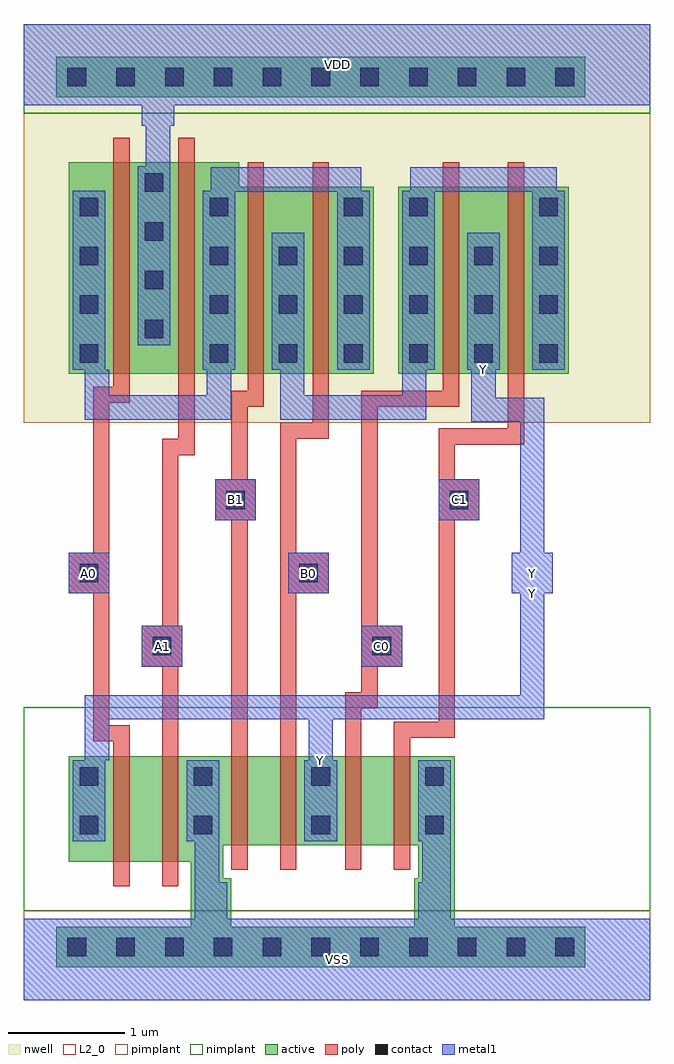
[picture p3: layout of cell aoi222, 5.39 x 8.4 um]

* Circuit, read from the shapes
.subckt aoi222 A0 A1 B0 B1 C0 C1 VDD VSS Y
M1 n1 A0 Y VSS nfet w=0.91u l=0.14u
M2 VSS A1 n1 VSS nfet w=0.91u l=0.14u
M3 n2 B1 VSS VSS nfet w=0.77u l=0.14u
M4 Y B0 n2 VSS nfet w=0.77u l=0.14u
M5 n3 C0 Y VSS nfet w=0.77u l=0.14u
M6 VSS C1 n3 VSS nfet w=0.77u l=0.14u
M7 VDD A0 n4 VDD pfet w=1.82u l=0.14u
M8 n4 A1 VDD VDD pfet w=1.82u l=0.14u
M9 n5 B1 n4 VDD pfet w=1.61u l=0.14u
M10 n4 B0 n5 VDD pfet w=1.61u l=0.14u
M11 Y C0 n5 VDD pfet w=1.61u l=0.14u
M12 n5 C1 Y VDD pfet w=1.61u l=0.14u
.ends

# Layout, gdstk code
import gdstk
lib = gdstk.Library(unit=1e-6, precision=1e-09)
def R(c, l, rs):  # rectangles x0, y0, x1, y1
    for r in rs: c.add(gdstk.rectangle(r[:2], r[2:], *l))
def A(c, l, x, y, w, h, nx, ny, dx, dy):  # array of equal rectangles
    R(c, l, [(x+i*dx, y+j*dy, x+i*dx+w, y+j*dy+h) for i in range(nx) for j in range(ny)])
def P(c, l, *ps):  # polygons
    for p in ps: c.add(gdstk.Polygon(p, *l))
L2_0 = (2, 0)
nwell = (3, 0)
active = (6, 0)
poly = (17, 0)
pimplant = (25, 0)
nimplant = (26, 0)
contact = (30, 0)
metal1 = (31, 0)

adk_poly_m1 = lib.new_cell('ADK_poly_m1')
R(adk_poly_m1, poly, [(-0.175,-0.175,0.175,0.175)])
R(adk_poly_m1, contact, [(-0.08,-0.08,0.08,0.08)])
R(adk_poly_m1, metal1, [(-0.175,-0.175,0.175,0.175)])

aoi222 = lib.new_cell('aoi222')
R(aoi222, L2_0, [(0,0,5.39,2.52)])
R(aoi222, nwell, [(0,4.97,5.39,8.4), (2.8,4.97,5.11,7.42)])
P(aoi222, nwell, [(0,4.97),(3.43,4.97),(3.43,7.42),(2.275,7.42),(2.275,7.63),(0,7.63)])
R(aoi222, active, [(0.28,0.28,4.83,0.63), (1.435,0.63,1.785,1.05), (3.36,0.63,3.71,1.05), (1.435,1.05,1.715,1.19), (3.395,1.05,3.71,1.33), (0.385,1.19,0.77,2.1), (1.645,1.19,1.715,1.33), (3.325,1.33,3.71,2.1), (0.385,5.39,0.77,7.21), (2.625,5.39,3.01,7), (3.22,5.39,3.605,7), (3.22,5.39,4.69,7), (4.305,5.39,4.69,7), (0.28,7.77,4.83,8.12)])
P(aoi222, active, [(3.01,5.39),(3.01,7),(1.855,7),(1.855,7.21),(0.385,7.21),(0.385,5.39)],
  [(1.715,1.19),(1.715,1.33),(3.71,1.33),(3.71,2.1),(0.385,2.1),(0.385,1.19)])
R(aoi222, poly, [(0.77,0.98,0.91,1.19), (1.19,0.98,1.33,1.19), (1.785,1.12,1.925,1.33), (2.205,1.12,2.345,1.33), (2.765,1.12,2.905,1.33), (3.185,1.12,3.325,1.33), (0.77,1.19,0.91,2.1), (1.19,1.19,1.33,2.1), (1.785,1.33,1.925,2.1), (2.205,1.33,2.345,2.1), (2.765,1.33,2.905,2.1), (3.185,1.33,3.325,2.1), (0.77,2.1,0.91,2.31), (1.19,2.1,1.33,2.31), (1.785,2.1,1.925,2.31), (2.205,2.1,2.345,2.31), (2.765,2.1,2.905,2.31), (3.185,2.1,3.325,2.31), (0.77,5.18,0.91,5.39), (1.33,5.18,1.47,5.39), (1.925,5.18,2.065,5.39), (2.485,5.18,2.625,5.39), (3.605,5.18,3.745,5.39), (4.165,5.18,4.305,5.39), (0.77,5.39,0.91,7.21), (1.33,5.39,1.47,7.21), (1.925,5.39,2.065,7), (2.485,5.39,2.625,7), (3.605,5.39,3.745,7), (4.165,5.39,4.305,7), (1.925,7,2.065,7.21), (2.485,7,2.625,7.21), (3.605,7,3.745,7.21), (4.165,7,4.305,7.21), (0.77,7.21,0.91,7.42), (1.33,7.21,1.47,7.42)])
P(aoi222, poly, [(3.185,2.17),(3.325,2.17),(3.325,2.255),(3.71,2.255),(3.71,4.78),(4.305,4.78),(4.305,5.32),(4.165,5.32),(4.165,4.92),(3.57,4.92),(3.57,2.395),(3.185,2.395)],
  [(2.765,2.17),(2.905,2.17),(2.905,2.51),(3.045,2.51),(3.045,5.105),(3.745,5.105),(3.745,5.32),(3.605,5.32),(3.605,5.245),(2.905,5.245),(2.905,2.65),(2.765,2.65)])
R(aoi222, pimplant, [(0,0,5.39,0.77), (0,4.97,5.39,7.63)])
R(aoi222, nimplant, [(0,0.77,5.39,2.52), (1.785,1.05,1.925,1.19), (0,7.63,5.39,8.4)])
A(aoi222, contact, 0.375, 0.375, 0.16, 0.16, 11, 2, 0.42, 7.49)
A(aoi222, contact, 0.48, 5.485, 0.16, 0.16, 1, 4, 0, 0.42)
A(aoi222, contact, 1.6, 5.485, 0.16, 0.16, 1, 4, 0, 0.42)
A(aoi222, contact, 2.195, 5.485, 0.16, 0.16, 5, 3, 0.56, 0.42)
A(aoi222, contact, 1.04, 5.695, 0.16, 0.16, 1, 4, 0, 0.42)
R(aoi222, contact, [(0.48,1.425,0.64,1.585), (1.46,1.425,1.62,1.585), (2.475,1.425,2.635,1.585), (3.455,1.425,3.615,1.585), (0.48,1.845,0.64,2.005), (1.46,1.845,1.62,2.005), (2.475,1.845,2.635,2.005), (3.455,1.845,3.615,2.005), (2.755,6.745,2.915,6.905), (3.315,6.745,3.475,6.905), (4.435,6.745,4.595,6.905)])
R(aoi222, metal1, [(0,0,5.39,0.7), (0,0,5.39,0.7), (1.47,0.7,1.75,1.015), (3.395,0.7,3.675,1.015), (1.47,1.015,1.68,1.365), (3.43,1.015,3.675,1.365), (0.42,1.365,0.7,2.065), (1.4,1.365,1.68,2.065), (2.415,1.365,2.695,2.065), (3.395,1.365,3.675,2.065), (1.015,2.87,1.365,3.22), (2.905,2.87,3.255,3.22), (0.385,3.5,0.735,3.85), (2.275,3.5,2.625,3.85), (4.2,3.5,4.55,3.85), (4.2,3.5,4.55,3.85), (1.645,4.13,1.995,4.48), (3.57,4.13,3.92,4.48), (0.42,5.425,0.7,6.965), (1.54,5.425,1.82,6.965), (2.135,5.425,2.415,6.605), (2.695,5.425,2.975,6.965), (3.255,5.425,3.535,6.965), (3.815,5.425,4.095,6.605), (4.375,5.425,4.655,6.965), (0.98,5.635,1.26,7.175), (1.05,7.175,1.26,7.525), (1.015,7.525,1.295,7.7), (0,7.7,5.39,8.4), (0,7.7,5.39,8.4)])
aoi222.add(gdstk.FlexPath([(4.375,3.5),(4.375,2.52),(2.66,2.52)], 0.21, ends="flush", simple_path=True, layer=31, datatype=0))  # metal1
aoi222.add(gdstk.FlexPath([(1.68,5.425),(1.68,5.1),(0.63,5.1),(0.63,5.425)], 0.21, ends="flush", simple_path=True, layer=31, datatype=0))  # metal1
aoi222.add(gdstk.FlexPath([(4.48,6.965),(4.48,7.06),(3.43,7.06),(3.43,6.965)], 0.21, ends="flush", simple_path=True, layer=31, datatype=0))  # metal1
aoi222.add(gdstk.FlexPath([(3.955,5.425),(3.955,5.08),(4.375,5.08),(4.375,3.85)], 0.21, ends="flush", simple_path=True, layer=31, datatype=0))  # metal1
aoi222.add(gdstk.FlexPath([(2.8,6.965),(2.8,7.06),(1.715,7.06),(1.715,6.9)], 0.21, ends="flush", simple_path=True, layer=31, datatype=0))  # metal1
aoi222.add(gdstk.FlexPath([(3.36,5.425),(3.36,5.1),(2.31,5.1),(2.31,5.425)], 0.21, ends="flush", simple_path=True, layer=31, datatype=0))  # metal1
aoi222.add(gdstk.FlexPath([(2.555,2.065),(2.555,2.52),(0.63,2.52),(0.63,2.065)], 0.21, ends="flush", simple_path=True, layer=31, datatype=0))  # metal1
aoi222.add(gdstk.FlexPath([(0.84,5.215),(0.84,5.21),(0.665,5.21),(0.665,3.85)], 0.14, ends="flush", simple_path=True, layer=17, datatype=0))  # poly
aoi222.add(gdstk.FlexPath([(0.84,2.275),(0.84,2.295),(0.665,2.295),(0.665,3.5)], 0.14, ends="flush", simple_path=True, layer=17, datatype=0))  # poly
aoi222.add(gdstk.FlexPath([(2.555,5.215),(2.555,4.9),(2.275,4.9),(2.275,2.275)], 0.14, ends="flush", simple_path=True, layer=17, datatype=0))  # poly
aoi222.add(gdstk.FlexPath([(1.995,5.215),(1.995,5.175),(1.855,5.175),(1.855,2.275)], 0.14, ends="flush", simple_path=True, layer=17, datatype=0))  # poly
aoi222.add(gdstk.FlexPath([(1.26,2.275),(1.26,4.76),(1.4,4.76),(1.4,5.215)], 0.14, ends="flush", simple_path=True, layer=17, datatype=0))  # poly
aoi222.add(gdstk.Reference(adk_poly_m1, (0.56,3.675)))
aoi222.add(gdstk.Reference(adk_poly_m1, (1.82,4.305)))
aoi222.add(gdstk.Reference(adk_poly_m1, (2.45,3.675)))
aoi222.add(gdstk.Reference(adk_poly_m1, (1.19,3.045)))
aoi222.add(gdstk.Reference(adk_poly_m1, (3.08,3.045)))
aoi222.add(gdstk.Reference(adk_poly_m1, (3.745,4.305)))
aoi222.add(gdstk.Label('VDD', (2.695,8.05), layer=131, texttype=0))
aoi222.add(gdstk.Label('C0', (3.08,3.045), layer=131, texttype=0))
aoi222.add(gdstk.Label('B0', (2.45,3.675), layer=131, texttype=0))
aoi222.add(gdstk.Label('B1', (1.82,4.305), layer=131, texttype=0))
aoi222.add(gdstk.Label('A1', (1.19,3.045), layer=131, texttype=0))
aoi222.add(gdstk.Label('A0', (0.56,3.675), layer=131, texttype=0))
aoi222.add(gdstk.Label('C1', (3.745,4.305), layer=131, texttype=0))
aoi222.add(gdstk.Label('Y', (4.375,3.675), layer=131, texttype=0))
aoi222.add(gdstk.Label('VDD', (2.695,8.05), layer=31, texttype=0))
aoi222.add(gdstk.Label('C0', (3.08,3.045), layer=31, texttype=0))
aoi222.add(gdstk.Label('B0', (2.45,3.675), layer=31, texttype=0))
aoi222.add(gdstk.Label('B1', (1.82,4.305), layer=31, texttype=0))
aoi222.add(gdstk.Label('A1', (1.19,3.045), layer=31, texttype=0))
aoi222.add(gdstk.Label('A0', (0.56,3.675), layer=31, texttype=0))
aoi222.add(gdstk.Label('C1', (3.745,4.305), layer=31, texttype=0))
aoi222.add(gdstk.Label('Y', (4.375,3.675), layer=31, texttype=0))
aoi222.add(gdstk.Label('Y', (3.955,5.425), layer=31, texttype=0))
aoi222.add(gdstk.Label('Y', (4.375,3.5), layer=31, texttype=0))
aoi222.add(gdstk.Label('Y', (2.555,2.065), layer=31, texttype=0))
aoi222.add(gdstk.Label('VSS', (2.695,0.35), layer=31, texttype=0))

lib.write_gds('aoi222.gds')
